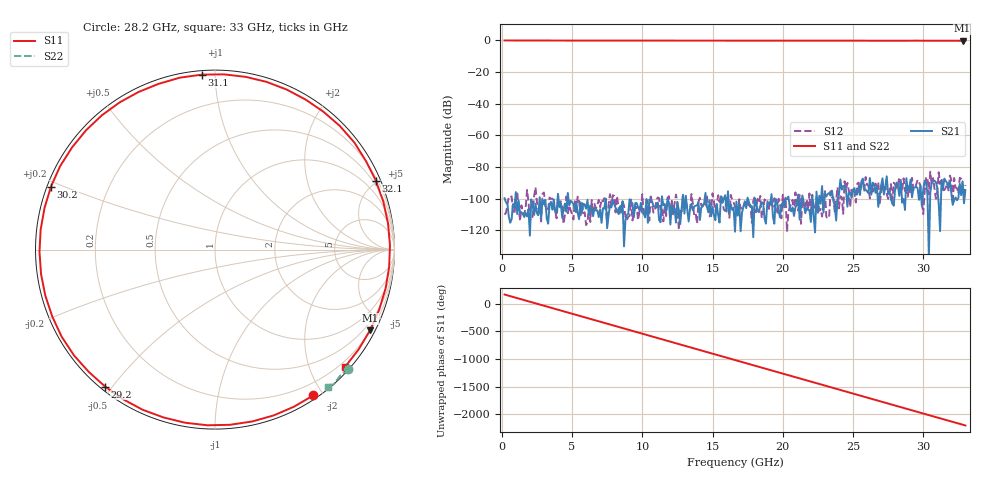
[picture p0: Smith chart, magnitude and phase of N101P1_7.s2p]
# GHZ S RI R 50
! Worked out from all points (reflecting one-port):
!   329 points, 200 MHz to 33 GHz, reference 50 ohm
!   lowest |S11| = -0.2 dB at 32.8 GHz (marker M1), VSWR 74.89, Z = 11.8 - j204 ohm
!   phase of S11 starts at 165 deg and turns -2367 deg over the sweep
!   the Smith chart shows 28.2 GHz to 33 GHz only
!   S11 on the Smith chart (normalised r, x): 28.2 GHz: 0.05, -1.88; 29.2 GHz: 0.01, -0.48; 30.2 GHz: 0.01, +0.19; 31.1 GHz: 0.02, +0.93; 32.1 GHz: 0.31, +4.85; 33 GHz: 0.09, -2.60
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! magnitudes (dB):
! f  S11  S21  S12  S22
! 200 MHz  0.0  -99.7  -110.2  0.0
! 5.7 GHz  -0.1  -109.1  -101.5  0.0
! 11.2 GHz  -0.1  -113.6  -99.8  0.0
! 16.6 GHz  -0.2  -120.9  -105.0  -0.1
! 19.5 GHz  -0.1  -100.2  -109.2  0.0
! 22.1 GHz  -0.2  -98.2  -97.5  0.0
! 22.7 GHz  -0.1  -103.2  -106.6  0.1
! 23 GHz  -0.2  -96.6  -94.7  0.0
! 23.6 GHz  -0.2  -101.1  -99.1  0.0
! 23.9 GHz  -0.1  -100.0  -92.8  0.1
! 24 GHz  -0.1  -97.5  -106.2  0.0
! 24.3 GHz  -0.2  -92.0  -109.6  0.0
! 25.4 GHz  -0.1  -92.4  -89.8  -0.1
! 27.6 GHz  -0.2  -95.1  -94.9  -0.1
! 28.2 GHz  -0.2  -92.1  -90.8  0.0
! 29.2 GHz  -0.2  -99.1  -86.9  -0.1
! 30.2 GHz  -0.2  -89.2  -86.3  -0.1
! 31.1 GHz  -0.2  -103.0  -83.3  -0.1
! 31.8 GHz  -0.2  -93.3  -94.8  0.0
! 32.1 GHz  -0.2  -103.9  -103.2  -0.1
! 32.8 GHz  -0.2  -89.1  -91.0  -0.1
! 33 GHz  -0.2  -94.6  -91.3  -0.1
